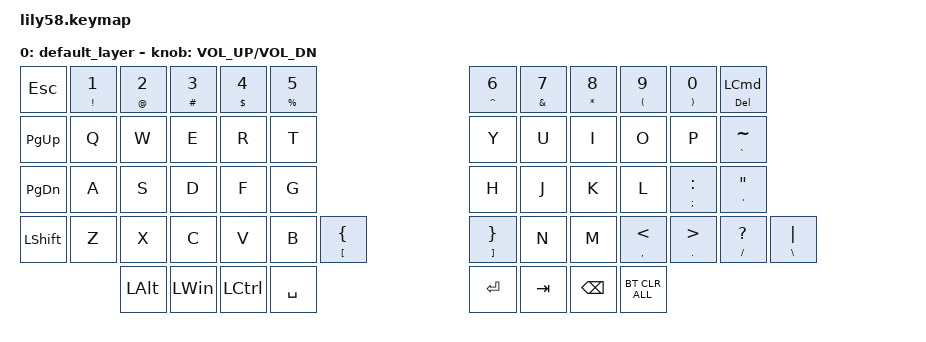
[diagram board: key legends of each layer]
/*
 * Copyright (c) 2020 The ZMK Contributors
 *
 * SPDX-License-Identifier: MIT
 */

#include <behaviors.dtsi>
#include <dt-bindings/zmk/keys.h>
#include <dt-bindings/zmk/bt.h>
#include <dt-bindings/zmk/ext_power.h>

/ {
    keymap {
        compatible = "zmk,keymap";

        default_layer {
// ------------------------------------------------------------------------------------------------------------
// |  ESC           |  1 ! |  2 @ |  3 #  |  4 $  |  5 %  |                   |  6 ^  |  7  &  |  8  *  |  9 (  |   0 )  |   DEL   |
// |  UPLayer  |  Q  |  W  |  E   |  R   |  T   |                        |  Y   |  U    |  I    |  O   |   P   |   ' ~   |
// |  DNLayer  |  A  |  S  |  D   |  F   |  G   |                        |  H   |  J    |  K    |  L   |   ; :   |   ' "  |
// | SHIFT          |  Z  |  X  |  C   |  V   |  B   |   { [  |        |  ] }  |  N   |  M    |  , <    |  . >  |   / ?   | '\ |' |
//                     | ALT  | WIN  | CTRL |  SPACE |       | ENTER | TAB| BSPC  | CMD   |
            bindings = <
&kp ESC       &mt EXCL N1       &mt AT N2     &mt HASH N3   &mt DOLLAR N4   &mt PRCNT N5               &mt CARET N6     &mt AMPS N7      &mt ASTRK N8     &mt LPAR N9                &mt RPAR N0   &mt DEL LCMD
&kp PG_UP     &kp Q  &kp W      &kp E    &kp R    &kp T                                                &kp Y            &kp U            &kp I             &kp O                     &kp P         &mt GRAVE TILDE
&kp PG_DN     &kp A  &kp S      &kp D    &kp F    &kp G                                                &kp H            &kp J            &kp K             &kp L                     &mt SEMI COLON     &mt SQT DOUBLE_QUOTES
&kp LSHFT     &kp Z  &kp X      &kp C    &kp V    &kp B  &mt LBKT LBRC                                 &mt RBKT RBRC    &kp N            &kp M             &mt COMMA LESS_THAN       &mt DOT GREATER_THAN     &mt FSLH QMARK    &mt BSLH PIPE
                        &kp LALT &kp LWIN &kp LCTRL &kp SPACE                                            &kp RET  &kp TAB  &kp BSPC &bt BT_CLR_ALL
            >;

            sensor-bindings = <&inc_dec_kp C_VOL_UP C_VOL_DN>;
        };

/*
        lower_layer {
// ------------------------------------------------------------------------------------------------------------
// | BTCLR | BT1 | BT2 |  BT3 |  BT4 |  BT5 |                   |      |       |       |      |       |       |
// |  F1   |  F2 |  F3 |  F4  |  F5  |  F6  |                   |  F7  |  F8   |  F9   |  F10 |  F11  |  F12  |
// |   `   |  !  |  @  |  #   |  $   |  %   |                   |  ^   |  &    |  *    |  (   |   )   |   ~   |
// |       |     |     |      |      |      |        |  |       |      |  _    |  +    |  {   |   }   |  "|"  |
//                     |      |      |      |        |  |       |      |       |       |
            bindings = <
&bt BT_CLR &bt BT_SEL 0     &bt BT_SEL 1      &bt BT_SEL 2      &bt BT_SEL 3 &bt BT_SEL 4                 &trans    &trans    &trans    &trans    &trans    &trans
&kp F1     &kp F2           &kp F3            &kp F4            &kp F5       &kp F6                       &kp F7    &kp F8    &kp F9    &kp F10   &kp F11   &kp F12
&kp GRAVE  &kp EXCL         &kp AT            &kp HASH          &kp DOLLAR   &kp PRCNT                    &kp CARET &kp AMPS  &kp ASTRK &kp LPAR  &kp RPAR  &kp TILDE
&trans     &ext_power EP_ON &ext_power EP_OFF &ext_power EP_TOG &trans       &trans    &trans   &trans    &trans    &kp MINUS &kp PLUS  &kp LBRC  &kp RBRC  &kp PIPE
                                              &trans            &trans       &trans    &trans   &trans    &trans    &trans    &trans
            >;

            sensor-bindings = <&inc_dec_kp C_VOL_UP C_VOL_DN>;
        };

        raise_layer {
// ------------------------------------------------------------------------------------------------------------
// |       |     |     |      |      |      |                   |      |       |       |      |       |       |
// |   `   |  1  |  2  |  3   |  4   |  5   |                   |  6   |   7   |   8   |  9   |   0   |       |
// |   F1  |  F2 |  F3 |  F4  |  F5  |  F6  |                   |      |   <-  |   v   |  ^   |  ->   |       |
// |   F7  |  F8 |  F9 |  F10 |  F11 |  F12 |        |  |       |  +   |   -   |   =   |  [   |   ]   |   \   |
//                     |      |      |      |        |  |       |      |       |       |
            bindings = <
&trans    &trans &trans &trans  &trans  &trans                       &trans      &trans    &trans    &trans   &trans    &trans
&kp GRAVE &kp N1 &kp N2 &kp N3  &kp N4  &kp N5                       &kp N6      &kp N7    &kp N8    &kp N9   &kp N0    &trans
&kp F1    &kp F2 &kp F3 &kp F4  &kp F5  &kp F6                       &trans      &kp LEFT  &kp DOWN  &kp UP   &kp RIGHT &trans
&kp F7    &kp F8 &kp F9 &kp F10 &kp F11 &kp F12   &trans   &trans    &kp KP_PLUS &kp MINUS &kp EQUAL &kp LBKT &kp RBKT  &kp BSLH
                        &trans  &trans  &trans    &trans   &trans    &trans      &trans    &trans
            >;

            sensor-bindings = <&inc_dec_kp C_VOL_UP C_VOL_DN>;
        };  */
    };
};
